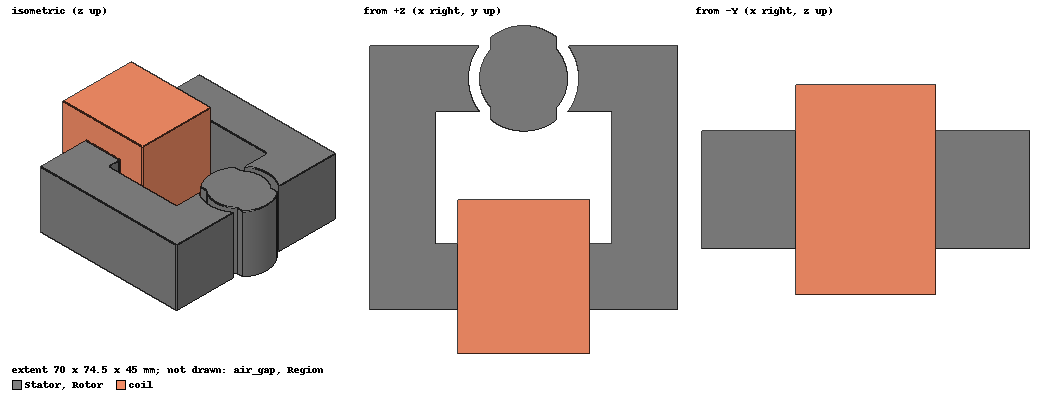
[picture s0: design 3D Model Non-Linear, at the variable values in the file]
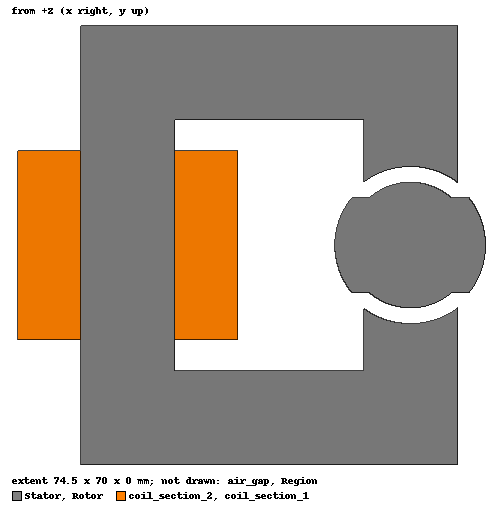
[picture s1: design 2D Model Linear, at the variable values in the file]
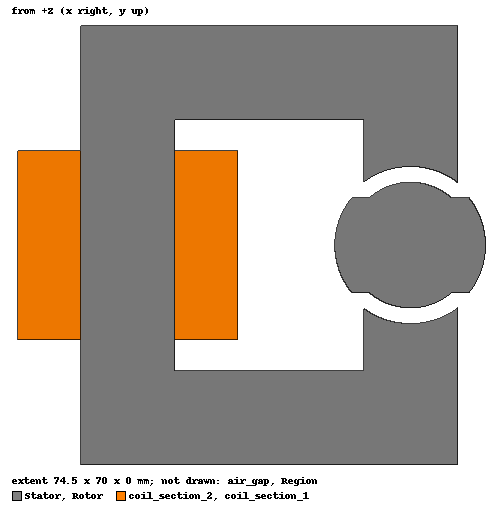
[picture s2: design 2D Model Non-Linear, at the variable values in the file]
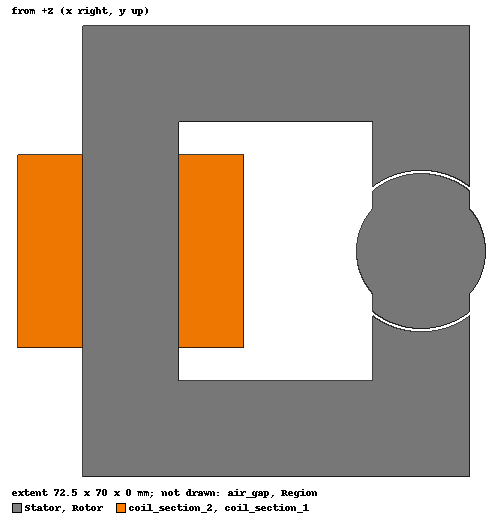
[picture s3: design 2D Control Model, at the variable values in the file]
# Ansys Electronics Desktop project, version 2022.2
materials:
  vacuum: permittivity=1
  copper: permeability=0.999991 conductivity=58000000
  AK Steel - M-19, 19mil, B-H at 100Hz: core_loss_curve{50Hz (0, 0) (0.1, 0.01782) (0.2, 0.066) (0.3, 0.13772) (0.4, 0.23782) (0.5, 0.3476) (0.6, 0.48268) (0.7, 0.60214) (0.8, 0.75086) (0.9, 0.93698) (1, 1.10836) (1.1, 1.34288) (1.2, 1.52372) (1.3, 1.8304) (1.4, 2.13004) (1.5, 2.5586) (1.6, 2.93392) (1.7, 3.3385) (1.8, 3.74484)} core_loss_curve{60Hz (0, 0) (0.1, 0.02134) (0.2, 0.08492) (0.3, 0.1969) (0.4, 0.30712) (0.5, 0.45452) (0.6, 0.63206) (0.7, 0.781) (0.8, 0.99396) (0.9, 1.2397) (1, 1.43572) (1.1, 1.70852) (1.2, 1.9866) (1.3, 2.36874) (1.4, 2.74296) (1.5, 3.18714) (1.6, 3.75628) (1.7, 4.3285) (1.8, 4.8015)} core_loss_curve{200Hz (0, 0) (0.1, 0.1133) (0.2, 0.4235) (0.3, 0.87538) (0.4, 1.5433) (0.5, 2.33948) (0.6, 3.25644) (0.7, 4.32542) (0.8, 5.49494) (0.9, 6.7628) (1, 8.22206) (1.1, 9.76162) (1.2, 11.5953) (1.3, 13.9412) (1.4, 16.0373) (1.5, 19.3534) (1.6, 22.3606) (1.7, 24.6803) (1.8, 26.7474)} core_loss_curve{400Hz (0, 0) (0.1, 0.31658) (0.2, 1.133) (0.3, 2.50888) (0.4, 4.25546) (0.5, 6.4185) (0.6, 9.23714) (0.7, 12.0542) (0.8, 15.4211) (0.9, 19.7771) (1, 24.823) (1.1, 29.9671) (1.2, 35.6455) (1.3, 42.2231) (1.4, 50.5419) (1.5, 59.6281) (1.6, 68.8208) (1.7, 78.0138) (1.8, 87.2065)} core_loss_curve{1000Hz (0, 0) (0.1, 1.05248) (0.2, 3.82954) (0.3, 8.50234) (0.4, 13.8811) (0.5, 20.3588) (0.6, 28.2823) (0.7, 40.1812) (0.8, 50.4962) (0.9, 62.4659) (1, 78.8801) (1.1, 96.4124) (1.2, 114.404) (1.3, 132.417) (1.4, 150.431)} permeability{HUnit=A_per_meter BUnit=tesla curve (0, 0) (25.4646, 0.139978) (28.1483, 0.159853) (30.8195, 0.180606) (33.4659, 0.202121) (36.0749, 0.224263) (38.6332, 0.24687) (41.1231, 0.269725) (43.5259, 0.292579) (45.8231, 0.31516) (48.0042, 0.337263) (50.0921, 0.359025) (52.1178, 0.380704) (54.1124, 0.402594) (56.1039, 0.424989) (58.1078, 0.45) (60.1366, 0.475) (62.2027, 0.5) (64.3082, 0.525) (66.4136, 0.55) (68.4694, 0.575) (70.4256, 0.6) (72.2576, 0.625) (74.0398, 0.65) (75.8717, 0.675) (77.8528, 0.7) (80.0453, 0.725) (82.3622, 0.75) (84.679, 0.775) (86.8716, 0.8) (88.8693, 0.825) (90.8173, 0.85) (92.9144, 0.875) (95.3598, 0.9) (98.2859, 0.925) (101.56, 0.95) (104.984, 0.975) (108.357, 1) (111.557, 1.025) (114.757, 1.05) (118.205, 1.075) (122.151, 1.1) (126.803, 1.125) (132.214, 1.15) (138.396, 1.175) (145.361, 1.2) (153.231, 1.225) (162.569, 1.25) (174.046, 1.275) (188.332, 1.3) (206.558, 1.325) (231.685, 1.35) (267.132, 1.375) (316.319, 1.4) (382.913, 1.425) (471.577, 1.45) (587.222, 1.475) (734.761, 1.5) (919.239, 1.525) (1146.24, 1.55) (1421.49, 1.575) (1750.69, 1.6) (2132.08, 1.62474) (2533.81, 1.64793) (2916.57, 1.668) (3241.01, 1.68341) (3494.73, 1.69313) (3772.98, 1.69831) (4197.94, 1.70062) (4891.76, 1.70175) (5939.97, 1.70306) (7281.45, 1.70475) (8818.46, 1.70668) (10453.2, 1.70874)} conductivity=1666670 saturation_mag=2.01tesla core_loss_type="Electrical Steel" core_loss_kh=350.176 core_loss_kc=0.195577 core_loss_ke=2.04521 mass_density=7650
  AK Steel - M-19, 19mil, B-H at 100Hz - Linear: core_loss_curve{50Hz (0, 0) (0.1, 0.01782) (0.2, 0.066) (0.3, 0.13772) (0.4, 0.23782) (0.5, 0.3476) (0.6, 0.48268) (0.7, 0.60214) (0.8, 0.75086) (0.9, 0.93698) (1, 1.10836) (1.1, 1.34288) (1.2, 1.52372) (1.3, 1.8304) (1.4, 2.13004) (1.5, 2.5586) (1.6, 2.93392) (1.7, 3.3385) (1.8, 3.74484)} core_loss_curve{60Hz (0, 0) (0.1, 0.02134) (0.2, 0.08492) (0.3, 0.1969) (0.4, 0.30712) (0.5, 0.45452) (0.6, 0.63206) (0.7, 0.781) (0.8, 0.99396) (0.9, 1.2397) (1, 1.43572) (1.1, 1.70852) (1.2, 1.9866) (1.3, 2.36874) (1.4, 2.74296) (1.5, 3.18714) (1.6, 3.75628) (1.7, 4.3285) (1.8, 4.8015)} core_loss_curve{200Hz (0, 0) (0.1, 0.1133) (0.2, 0.4235) (0.3, 0.87538) (0.4, 1.5433) (0.5, 2.33948) (0.6, 3.25644) (0.7, 4.32542) (0.8, 5.49494) (0.9, 6.7628) (1, 8.22206) (1.1, 9.76162) (1.2, 11.5953) (1.3, 13.9412) (1.4, 16.0373) (1.5, 19.3534) (1.6, 22.3606) (1.7, 24.6803) (1.8, 26.7474)} core_loss_curve{400Hz (0, 0) (0.1, 0.31658) (0.2, 1.133) (0.3, 2.50888) (0.4, 4.25546) (0.5, 6.4185) (0.6, 9.23714) (0.7, 12.0542) (0.8, 15.4211) (0.9, 19.7771) (1, 24.823) (1.1, 29.9671) (1.2, 35.6455) (1.3, 42.2231) (1.4, 50.5419) (1.5, 59.6281) (1.6, 68.8208) (1.7, 78.0138) (1.8, 87.2065)} core_loss_curve{1000Hz (0, 0) (0.1, 1.05248) (0.2, 3.82954) (0.3, 8.50234) (0.4, 13.8811) (0.5, 20.3588) (0.6, 28.2823) (0.7, 40.1812) (0.8, 50.4962) (0.9, 62.4659) (1, 78.8801) (1.1, 96.4124) (1.2, 114.404) (1.3, 132.417) (1.4, 150.431)} permeability=4000 conductivity=1666670 saturation_mag=2.01tesla core_loss_type="Electrical Steel" core_loss_kh=350.176 core_loss_kc=0.195577 core_loss_ke=2.04521 mass_density=7650
  Cogent Power - M270-35A, B-H at 50Hz - linear: core_loss_curve{50Hz (0, 0) (0.05, 0.015) (0.1, 0.03) (0.15, 0.05) (0.2, 0.07) (0.25, 0.1) (0.3, 0.13) (0.35, 0.175) (0.4, 0.22) (0.45, 0.265) (0.5, 0.31) (0.55, 0.37) (0.6, 0.43) (0.65, 0.485) (0.7, 0.54) (0.75, 0.61) (0.8, 0.68) (0.85, 0.755) (0.9, 0.83) (0.95, 0.92) (1, 1.01) (1.05, 1.105) (1.1, 1.2) (1.15, 1.31) (1.2, 1.42) (1.25, 1.56) (1.3, 1.7) (1.35, 1.91) (1.4, 2.12) (1.45, 2.295) (1.5, 2.47) (1.55, 2.635) (1.6, 2.8) (1.65, 2.925) (1.7, 3.05) (1.75, 3.15) (1.8, 3.25)} core_loss_curve{100Hz (0, 0) (0.05, 0.02) (0.1, 0.04) (0.15, 0.1) (0.2, 0.16) (0.25, 0.25) (0.3, 0.34) (0.35, 0.445) (0.4, 0.55) (0.45, 0.675) (0.5, 0.8) (0.55, 0.93) (0.6, 1.06) (0.65, 1.22) (0.7, 1.38) (0.75, 1.555) (0.8, 1.73) (0.85, 1.915) (0.9, 2.1) (0.95, 2.305) (1, 2.51) (1.05, 2.745) (1.1, 2.98) (1.15, 3.245) (1.2, 3.51) (1.25, 3.83) (1.3, 4.15) (1.35, 4.56) (1.4, 4.97) (1.45, 5.445) (1.5, 5.92) (1.55, 6.395) (1.6, 6.87) (1.65, 7.345) (1.7, 7.82) (1.75, 8.295) (1.8, 8.77)} core_loss_curve{200Hz (0, 0) (0.05, 0.045) (0.1, 0.09) (0.15, 0.23) (0.2, 0.37) (0.25, 0.58) (0.3, 0.79) (0.35, 1.05) (0.4, 1.31) (0.45, 1.61) (0.5, 1.91) (0.55, 2.26) (0.6, 2.61) (0.65, 3) (0.7, 3.39) (0.75, 3.825) (0.8, 4.26) (0.85, 4.745) (0.9, 5.23) (0.95, 5.765) (1, 6.3) (1.05, 6.905) (1.1, 7.51) (1.15, 8.195) (1.2, 8.88) (1.25, 9.69) (1.3, 10.5) (1.35, 11.5) (1.4, 12.5) (1.45, 13.7) (1.5, 14.9) (1.55, 16.1) (1.6, 17.3) (1.65, 18.5) (1.7, 19.7) (1.75, 20.9) (1.8, 22.1)} core_loss_curve{400Hz (0, 0) (0.05, 0.105) (0.1, 0.21) (0.15, 0.565) (0.2, 0.92) (0.25, 1.455) (0.3, 1.99) (0.35, 2.66) (0.4, 3.33) (0.45, 4.135) (0.5, 4.94) (0.55, 5.89) (0.6, 6.84) (0.65, 7.92) (0.7, 9) (0.75, 10.2) (0.8, 11.4) (0.85, 12.8) (0.9, 14.2) (0.95, 15.75) (1, 17.3) (1.05, 19.1) (1.1, 20.9) (1.15, 22.9) (1.2, 24.9) (1.25, 27.2) (1.3, 29.5) (1.35, 32.45) (1.4, 35.4) (1.45, 38.6) (1.5, 41.8) (1.55, 45) (1.6, 48.2) (1.65, 51.4) (1.7, 54.6) (1.75, 57.8) (1.8, 61)} core_loss_curve{1000Hz (0, 0) (0.05, 0.495) (0.1, 0.99) (0.15, 2.33) (0.2, 3.67) (0.25, 5.65) (0.3, 7.63) (0.35, 10.165) (0.4, 12.7) (0.45, 15.8) (0.5, 18.9) (0.55, 22.65) (0.6, 26.4) (0.65, 30.9) (0.7, 35.4) (0.75, 40.7) (0.8, 46) (0.85, 52.2) (0.9, 58.4) (0.95, 65.7) (1, 73) (1.05, 81.55) (1.1, 90.1) (1.15, 98.65) (1.2, 107.2) (1.25, 115.75) (1.3, 124.3) (1.35, 132.85) (1.4, 141.4) (1.45, 149.95) (1.5, 158.5) (1.55, 167.05) (1.6, 175.6) (1.65, 184.15) (1.7, 192.7) (1.75, 201.25) (1.8, 209.8)} permeability=2000 conductivity=1923080 core_loss_type="Electrical Steel" core_loss_kh=156.32 core_loss_kc=0.211218 core_loss_ke=6.2369 mass_density=7650
  steel_1010 - linear: permittivity=1 permeability=2000 conductivity=2000000 lande_g_factor=2
  steel_1008: permeability{HUnit=A_per_meter BUnit=tesla curve (0, 0) (159.2, 0.2402) (318.3, 0.8654) (477.5, 1.1106) (636.6, 1.2458) (795.8, 1.331) (1591.5, 1.5) (3183.1, 1.6) (4774.6, 1.683) (6366.2, 1.741) (7957.7, 1.78) (15915.5, 1.905) (31831, 2.025) (47746.5, 2.085) (63662, 2.13) (79577.5, 2.165) (159155, 2.28) (318310, 2.485) (397887, 2.5851)} conductivity=2000000
  AK Steel - M-43 FP, B-H at 50Hz - Linear: permeability=2000 saturation_mag=2.05tesla
  AK Steel - M-43 FP, B-H at 50Hz: permeability{HUnit=A_per_meter BUnit=tesla curve (0, 0) (39.0655, 0.1) (50.494, 0.2) (59.063, 0.3) (65.659, 0.4) (72.909, 0.5) (81.648, 0.6) (92.268, 0.7) (105.797, 0.8) (123.82, 0.9) (149.188, 1) (186.385, 1.1) (246.61, 1.2) (354.351, 1.3) (587.649, 1.4) (988.026, 1.5) (1516.51, 1.55) (2270.4, 1.6) (3231.92, 1.65) (4496.24, 1.7) (6218.45, 1.75) (8381.49, 1.8) (11053.3, 1.85) (14161, 1.9) (17684, 1.95) (23475, 2.0137) (31162, 2.0659) (41366, 2.1107) (54912, 2.1519) (72893, 2.1926) (96762, 2.2363) (128450, 2.2865) (170510, 2.3471) (226340, 2.4231) (300460, 2.5206) (398850, 2.6476) (529460, 2.8142) (702830, 3.034)} saturation_mag=2.05tesla
  solder: conductivity=7000000
  TDK - PC40, 120C: permeability{HUnit=A_per_meter BUnit=tesla curve (0, 0) (10.02, 0.0200126) (20.04, 0.0400252) (27.67, 0.0600348) (31.86, 0.08004) (36.05, 0.100045) (39.62, 0.12005) (42.14, 0.140053) (44.66, 0.160056) (52.09, 0.180065) (60.1, 0.200076) (72.94, 0.220092) (91.16, 0.240115) (109.94, 0.260138) (129.27, 0.280162) (172.21, 0.300216) (282.09, 0.320354) (632.5, 0.340795) (1231.03, 0.361547) (4827.67, 0.386066) (8594.3, 0.4108) (17148, 0.44431) (34215, 0.47717) (68268, 0.52568) (136210, 0.61392) (271770, 0.78571)}
  TDK - PC95, 120C - Linear: permeability=2500 conductivity=1/6
  TDK - PC95, 120C: permeability{HUnit=A_per_meter BUnit=tesla curve (0, 0) (5.2, 0.0200065) (10.39, 0.0400131) (15.59, 0.0600196) (20.78, 0.0800261) (22.89, 0.100029) (24.61, 0.120031) (26.33, 0.140033) (28.05, 0.160035) (29.77, 0.180037) (34.99, 0.200044) (40.46, 0.220051) (44.9, 0.240056) (47.37, 0.26006) (49.85, 0.280063) (54.28, 0.300068) (66.96, 0.320084) (81.79, 0.340103) (136.05, 0.360171) (741.39, 0.380932) (4025.98, 0.405059) (8032.9, 0.42232) (16028, 0.4385) (31980, 0.46162) (63808, 0.50315) (127310, 0.58372)}
  TDK - PC44, 25C - linear: permeability=2000
  TDK - PC40, 25C - linear: permeability=2000
  TDK - PC40, 25C: permeability{HUnit=A_per_meter BUnit=tesla curve (0, 0) (5.04, 0.0200063) (6.79, 0.0400085) (8.54, 0.0600107) (10.2, 0.0800128) (11.79, 0.100015) (13.37, 0.120017) (14.96, 0.140019) (18.92, 0.160024) (24, 0.18003) (29.08, 0.200037) (33.38, 0.220042) (36.97, 0.240046) (40.56, 0.260051) (45.92, 0.280058) (51.51, 0.300065) (57.16, 0.320072) (68.71, 0.340086) (80.25, 0.360101) (95.02, 0.380119) (110.81, 0.400139) (135.81, 0.420171) (184.05, 0.440231) (255.31, 0.460321) (354.4, 0.480445) (707.45, 0.500889) (988.57, 0.51264) (1381.4, 0.52129) (1930.3, 0.52781) (2697.4, 0.53296) (3769.3, 0.53729) (5267.1, 0.54131) (7360.1, 0.54547) (10285, 0.55024) (14372, 0.55616) (20083, 0.5639) (28064, 0.57433) (39216, 0.58863) (54800, 0.60842) (76576, 0.63593)}

design 3D Model Non-Linear (Maxwell 3D, Magnetostatic, model units mm)
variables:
  core_inner_height = 40mm
  r1 = 12.5mm
  core_outer_width = 60mm
  core_outer_height = 70mm
  core_inner_width = 30mm
  coil_height = 30mm
  coil_width = 10mm
  r2 = 12mm
  r3 = 10mm
  angle = 90deg
  N = 300
  I = 2.5*N
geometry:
  Stator [TDK - PC40, 25C] = rectangle(corner=(-core_outer_width/2, -core_outer_height/2, 0mm), x_size=core_outer_width, y_size=core_outer_height)
  core_inner = rectangle(corner=(-core_inner_width/2, -core_inner_height/2, 0mm), x_size=core_inner_width, y_size=core_inner_height)
  Stator.subtract(core_inner)
  coil_section_1 = rectangle(corner=(-core_inner_width/2, -coil_height/2, 0mm), x_size=coil_width, y_size=coil_height)
  coil_section_2 = rectangle(corner=(-core_inner_width/2-coil_width-(core_outer_width-core_inner_width)/2, -coil_height/2, 0mm), x_size=coil_width, y_size=coil_height)
  Circle1 = circle(normal=Z, centre=((core_inner_width+core_outer_width)/4, 0mm, 0mm), radius=r1)
  Circle2 = circle(normal=Z, centre=((core_inner_width+core_outer_width)/4, 0mm, 0mm), radius=r2)
  Circle3 = circle(normal=Z, centre=((core_inner_width+core_outer_width)/4, 0mm, 0mm), radius=r3)
  Rotor [TDK - PC40, 25C] = rectangle(corner=(-core_outer_width/2, -core_outer_height/2, 0mm), x_size=core_outer_width, y_size=core_outer_height)
  core_inner1 = rectangle(corner=(-core_inner_width/2, -core_inner_height/2, 0mm), x_size=core_inner_width, y_size=core_inner_height)
  Rotor.subtract(core_inner1)
  Rotor.intersect(Circle2)
  Stator.subtract(Circle1)
  Rotor.unite(Circle3)
  air_gap [vacuum] = circle(normal=Z, centre=((core_outer_width+core_inner_width)/4, 0mm, 0mm), radius=(r1+r2)/2)
  Region [vacuum] = region(percentage_offset: +X=100, -X=100, +Y=100, -Y=100, +Z=0, -Z=0)
  coordinate_system RelativeCS1 = origin=((core_outer_width+core_inner_width)/4, 0mm, 0mm) x=(1mm, 0mm, 0mm) y=(0mm, 1mm, 0mm)
  Rotor.rotate(axis=Z, angle=-angle) in RelativeCS1
  [Stator, coil_section_1, coil_section_2, Rotor, air_gap].sweep_along_vector((0meter, 0meter, 25mm))
  Box1 = box(corner=(-5mm, 15mm, 25mm), size=(-35mm, -30mm, 10mm))
  coil [copper] = box(corner=(-5mm, 15mm, 0mm), size=(-35mm, -30mm, -10mm))
  coil.unite(Box1, coil_section_2, coil_section_1)
  [Stator, Rotor, air_gap, coil].move(0mm, 0mm, -12.5mm)
  coil_Section1 [copper] = coil.section(plane=XY)
  coil_Section1.separate_bodies()
  [Stator, Rotor, air_gap, coil, coil_Section1].rotate(axis=Z, angle=90deg)
  coordinate_system RelativeCS2 = origin=(0mm, (core_outer_width+core_inner_width)/4, 0mm) x=(1mm, 0mm, 0mm) y=(0mm, 1mm, 0mm)
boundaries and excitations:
  Current1: Current Objects=coil_Section1 Current=I IsSolid=false Point_out_of_terminal=false
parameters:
  Torque1: Torque Is_Virtual=true Coordinate_System=RelativeCS2 Axis=Z Is_Positive=true Objects=Rotor
  Matrix1: Matrix Current1: NumberOfTurns=300
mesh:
  Length1: LengthBased RefineInside Objects=air_gap MaxLength=2mm
  initial mesh: GlobalCurvilinear{Apply}
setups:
  Setup1: Magnetostatic MaximumPasses=10 MinimumPasses=2 MinimumConvergedPasses=1 PercentRefinement=40 PercentError=1 NonLinearResidual=1e-06
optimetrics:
  ParametricSetup1: Parametric Sim._Setups=[Setup1]
    sweep angle: LIN 0deg 180deg 1deg
  ParametricSetup2: Parametric Sim._Setups=[Setup1]
    sweep angle: LIN 0deg 90deg 45deg
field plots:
  B_Vector1: B in Stator, Rotor on Setup1 : LastAdaptive
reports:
  Torque vs. Angle 3D FEA: Torque vs angle on Setup1 : LastAdaptive

design 2D Model Linear (Maxwell 2D, Magnetostatic, XY geometry, model units mm)
options: ModelDepth=25mm
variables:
  core_outer_width = 60mm
  core_outer_height = 70mm
  core_inner_width = 30mm
  core_inner_height = 40mm
  coil_width = 10mm
  coil_height = 30mm
  r1 = 12.5mm
  r2 = 12mm
  r3 = 10mm
  N = 300
  I = 2.5*N
  core_depth = 25mm
  angle = 90deg
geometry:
  Stator [TDK - PC40, 25C - linear] = rectangle(corner=(-core_outer_width/2, -core_outer_height/2, 0mm), x_size=core_outer_width, y_size=core_outer_height)
  core_inner = rectangle(corner=(-core_inner_width/2, -core_inner_height/2, 0mm), x_size=core_inner_width, y_size=core_inner_height)
  Stator.subtract(core_inner)
  coil_section_1 [copper] = rectangle(corner=(-core_inner_width/2, -coil_height/2, 0mm), x_size=coil_width, y_size=coil_height)
  coil_section_2 [copper] = rectangle(corner=(-core_inner_width/2-coil_width-(core_outer_width-core_inner_width)/2, -coil_height/2, 0mm), x_size=coil_width, y_size=coil_height)
  Circle1 = circle(normal=Z, centre=((core_inner_width+core_outer_width)/4, 0mm, 0mm), radius=r1)
  Circle2 = circle(normal=Z, centre=((core_inner_width+core_outer_width)/4, 0mm, 0mm), radius=r2)
  Circle3 = circle(normal=Z, centre=((core_inner_width+core_outer_width)/4, 0mm, 0mm), radius=r3)
  Rotor [TDK - PC40, 25C - linear] = rectangle(corner=(-core_outer_width/2, -core_outer_height/2, 0mm), x_size=core_outer_width, y_size=core_outer_height)
  core_inner1 = rectangle(corner=(-core_inner_width/2, -core_inner_height/2, 0mm), x_size=core_inner_width, y_size=core_inner_height)
  Rotor.subtract(core_inner1)
  Rotor.intersect(Circle2)
  Stator.subtract(Circle1)
  Rotor.unite(Circle3)
  air_gap [vacuum] = circle(normal=Z, centre=((core_outer_width+core_inner_width)/4, 0mm, 0mm), radius=(r1+r2)/2)
  Region [vacuum] = region(percentage_offset: +X=100, -X=100, +Y=100, -Y=100, +Z=0, -Z=0)
  coordinate_system RelativeCS1 = origin=((core_outer_width+core_inner_width)/4, 0mm, 0mm) x=(1mm, 0mm, 0mm) y=(0mm, 1mm, 0mm)
  Rotor.rotate(axis=Z, angle=-angle) in RelativeCS1
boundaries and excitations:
  Balloon1: Balloon Edges=Region.edge(all 4)
  Current1: Current Objects=coil_section_2 Current=I IsPositive=true
  Current2: Current Objects=coil_section_1 Current=I IsPositive=false
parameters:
  Torque1: Torque Coordinate_System=RelativeCS1 Is_Positive=true Objects=Rotor
  Matrix1: Matrix Current1, Current2: NumberOfTurns=N; group Group1 = Current1, Current2 (1 parallel)
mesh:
  Length1: LengthBased RefineInside Objects=Stator MaxLength=1mm
  Length2: LengthBased RefineInside Objects=air_gap MaxLength=1mm
  Length3: LengthBased RefineInside Objects=Rotor MaxLength=1mm
  initial mesh: MeshMethod=AnsoftTAU
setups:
  Setup1: Magnetostatic MaximumPasses=10 MinimumPasses=2 MinimumConvergedPasses=1 PercentRefinement=40 PercentError=0.5 NonLinearResidual=1e-06
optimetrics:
  ParametricSetup1: Parametric Sim._Setups=[Setup1]
    sweep angle: LIN 0deg 360deg 1deg
  ParametricSetup2: Parametric Sim._Setups=[Setup1]
    sweep angle: LIN 0deg 90deg 45deg
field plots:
  B_Vector: B over Stator, Rotor on Setup1 : LastAdaptive
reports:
  Torque vs Rotation Angle Plot - Linear: Torque1.Torque vs angle on Setup1 : LastAdaptive

design 2D Model Non-Linear (Maxwell 2D, Magnetostatic, XY geometry, model units mm)
options: ModelDepth=25mm
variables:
  core_outer_width = 60mm
  core_outer_height = 70mm
  core_inner_width = 30mm
  core_inner_height = 40mm
  coil_width = 10mm
  coil_height = 30mm
  r1 = 12.5mm
  r2 = 12mm
  r3 = 10mm
  N = 300
  I = 2.5*N
  core_depth = 25mm
  angle = 90deg
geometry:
  Stator [TDK - PC40, 25C] = rectangle(corner=(-core_outer_width/2, -core_outer_height/2, 0mm), x_size=core_outer_width, y_size=core_outer_height)
  core_inner = rectangle(corner=(-core_inner_width/2, -core_inner_height/2, 0mm), x_size=core_inner_width, y_size=core_inner_height)
  Stator.subtract(core_inner)
  coil_section_1 [copper] = rectangle(corner=(-core_inner_width/2, -coil_height/2, 0mm), x_size=coil_width, y_size=coil_height)
  coil_section_2 [copper] = rectangle(corner=(-core_inner_width/2-coil_width-(core_outer_width-core_inner_width)/2, -coil_height/2, 0mm), x_size=coil_width, y_size=coil_height)
  Circle1 = circle(normal=Z, centre=((core_inner_width+core_outer_width)/4, 0mm, 0mm), radius=r1)
  Circle2 = circle(normal=Z, centre=((core_inner_width+core_outer_width)/4, 0mm, 0mm), radius=r2)
  Circle3 = circle(normal=Z, centre=((core_inner_width+core_outer_width)/4, 0mm, 0mm), radius=r3)
  Rotor [TDK - PC40, 25C] = rectangle(corner=(-core_outer_width/2, -core_outer_height/2, 0mm), x_size=core_outer_width, y_size=core_outer_height)
  core_inner1 = rectangle(corner=(-core_inner_width/2, -core_inner_height/2, 0mm), x_size=core_inner_width, y_size=core_inner_height)
  Rotor.subtract(core_inner1)
  Rotor.intersect(Circle2)
  Stator.subtract(Circle1)
  Rotor.unite(Circle3)
  air_gap [vacuum] = circle(normal=Z, centre=((core_outer_width+core_inner_width)/4, 0mm, 0mm), radius=(r1+r2)/2)
  Region [vacuum] = region(percentage_offset: +X=100, -X=100, +Y=100, -Y=100, +Z=0, -Z=0)
  coordinate_system RelativeCS1 = origin=((core_outer_width+core_inner_width)/4, 0mm, 0mm) x=(1mm, 0mm, 0mm) y=(0mm, 1mm, 0mm)
  Rotor.rotate(axis=Z, angle=-angle) in RelativeCS1
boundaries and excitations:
  Balloon1: Balloon Edges=Region.edge(all 4)
  Current1: Current Objects=coil_section_2 Current=I IsPositive=true
  Current2: Current Objects=coil_section_1 Current=I IsPositive=false
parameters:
  Torque1: Torque Coordinate_System=RelativeCS1 Is_Positive=true Objects=Rotor
  Matrix1: Matrix Current1, Current2: NumberOfTurns=N; group Group1 = Current1, Current2 (1 parallel)
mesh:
  Length1: LengthBased RefineInside Objects=Stator MaxLength=1mm
  Length2: LengthBased RefineInside Objects=air_gap MaxLength=1mm
  Length3: LengthBased RefineInside Objects=Rotor MaxLength=1mm
  initial mesh: MeshMethod=AnsoftTAU
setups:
  Setup1: Magnetostatic MaximumPasses=10 MinimumPasses=2 MinimumConvergedPasses=1 PercentRefinement=40 PercentError=0.5 NonLinearResidual=1e-06
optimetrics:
  ParametricSetup1: Parametric Sim._Setups=[Setup1]
    sweep angle: LIN 0deg 360deg 1deg
  ParametricSetup2: Parametric Sim._Setups=[Setup1]
    sweep angle: LIN 0deg 90deg 45deg
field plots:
  B_Vector: B over Stator, Rotor on Setup1 : LastAdaptive
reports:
  Torque vs Rotation Angle Plot - Nonlinear: Torque1.Torque vs angle on Setup1 : LastAdaptive

design 2D Control Model (Maxwell 2D, Transient, XY geometry, model units mm)
options: ModelDepth=25mm
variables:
  core_outer_width = 60mm
  core_outer_height = 70mm
  core_inner_width = 30mm
  core_inner_height = 40mm
  coil_width = 10mm
  coil_height = 30mm
  r1 = 12.5mm
  r2 = 12mm
  r3 = 10mm
  N = 300
  I = 2.5*N
  core_depth = 25mm
  angle = 0deg
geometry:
  Stator [TDK - PC40, 25C - linear] = rectangle(corner=(-core_outer_width/2, -core_outer_height/2, 0mm), x_size=core_outer_width, y_size=core_outer_height)
  core_inner = rectangle(corner=(-core_inner_width/2, -core_inner_height/2, 0mm), x_size=core_inner_width, y_size=core_inner_height)
  Stator.subtract(core_inner)
  coil_section_1 [copper] = rectangle(corner=(-core_inner_width/2, -coil_height/2, 0mm), x_size=coil_width, y_size=coil_height)
  coil_section_2 [copper] = rectangle(corner=(-core_inner_width/2-coil_width-(core_outer_width-core_inner_width)/2, -coil_height/2, 0mm), x_size=coil_width, y_size=coil_height)
  Circle1 = circle(normal=Z, centre=((core_inner_width+core_outer_width)/4, 0mm, 0mm), radius=r1)
  Circle2 = circle(normal=Z, centre=((core_inner_width+core_outer_width)/4, 0mm, 0mm), radius=r2)
  Circle3 = circle(normal=Z, centre=((core_inner_width+core_outer_width)/4, 0mm, 0mm), radius=r3)
  Rotor [TDK - PC40, 25C - linear] = rectangle(corner=(-core_outer_width/2, -core_outer_height/2, 0mm), x_size=core_outer_width, y_size=core_outer_height)
  core_inner1 = rectangle(corner=(-core_inner_width/2, -core_inner_height/2, 0mm), x_size=core_inner_width, y_size=core_inner_height)
  Rotor.subtract(core_inner1)
  Rotor.intersect(Circle2)
  Stator.subtract(Circle1)
  Rotor.unite(Circle3)
  air_gap [vacuum] = circle(normal=Z, centre=((core_outer_width+core_inner_width)/4, 0mm, 0mm), radius=(r1+r2)/2)
  Region [vacuum] = region(percentage_offset: +X=100, -X=100, +Y=100, -Y=100, +Z=0, -Z=0)
  coordinate_system RelativeCS1 = origin=((core_outer_width+core_inner_width)/4, 0mm, 0mm) x=(1mm, 0mm, 0mm) y=(0mm, 1mm, 0mm)
  Rotor.rotate(axis=Z, angle=-angle) in RelativeCS1
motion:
  MotionSetup1: Band Move_Type=Rotate Coordinate_System=RelativeCS1 Axis=Z Is_Positive=true InitPos=0deg Angular_Velocity=1rpm Objects=air_gap
  Moving1: Moving Objects=Rotor
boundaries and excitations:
  Balloon1: Balloon Edges=Region.edge(all 4)
  Current1: Current Objects=coil_section_2 Current="if(sin(2*pi*2/60 * Time) <= 0, I, 0)" IsSolid=false IsPositive=true
  Current2: Current Objects=coil_section_1 Current="if(sin(2*pi*2/60 * Time) <= 0,I, 0)" IsSolid=false IsPositive=false
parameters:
  Torque1: Torque Coordinate_System=RelativeCS1 Is_Positive=true Objects=Rotor
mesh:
  Length1: LengthBased RefineInside Objects=Stator MaxLength=1mm
  Length2: LengthBased RefineInside Objects=air_gap MaxLength=1mm
  Length3: LengthBased RefineInside Objects=Rotor MaxLength=1mm
  CylindricalGap1: CylindricalGap Objects=air_gap
  initial mesh: GlobalSurfApproximation{CurvedSurfaceApproxChoice=UseSlider SliderMeshSettings=7} MeshMethod=AnsoftTAU
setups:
  Setup1: Transient NonlinearSolverResidual=1e-05 StopTime=60s TimeStep="(60/360) s" InitialTimeStep=0.002s MinTimeStep=0.001s MaxTimeStep=0.003s TimeStepErrTolerance=0.0001
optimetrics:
  ParametricSetup1: Parametric InterpolationPoints=0
    sweep angle: LIN 0deg 360deg 1deg
  ParametricSetup2: Parametric InterpolationPoints=0
    sweep angle: LIN 0deg 90deg 45deg
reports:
  Torque vs. Time Plot: Torque vs Time on Setup1 : Transient
